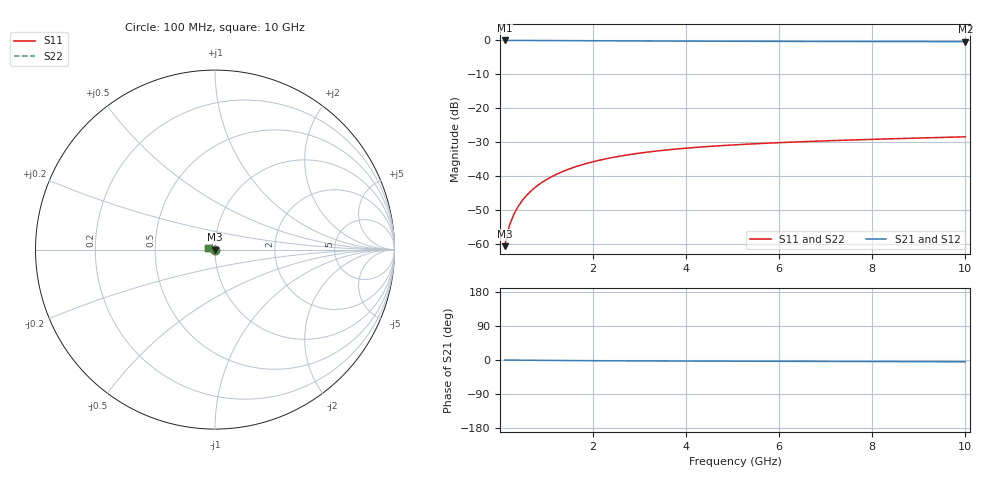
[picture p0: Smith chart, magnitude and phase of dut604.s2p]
! Touchstone file exported from HFSS 2024.1.0
!  File:  C:/UserFiles/LocalFiles/RDL_TSV_Batchsim/temp_TSV1_604_1779787726.aedt
!  Generated:  05:34:11 PM May 26, 2026
!  Design:  TSV1
!  Project:  temp_TSV1_604_1779787726
!  Setup:  Setup1
!  Solution:  Sweep
! Variables:
!  dtsv = 8.46um
!  hbump = 3um
!  htsv = 71.52um
!  lrdl = 252.1521522um
!  p = 40
!  p1 = 48.58um
!  t = 500um
!  trdl = 3um
!  wrdl = 24.89489489um
# GHz S MA R 50.000000
! Terminal data exported
! Port[1] = TSV22_T1
! Port[2] = TSV22_T2
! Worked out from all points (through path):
!   100 points, 100 MHz to 10 GHz, reference 50 ohm
!   highest |S21| = 0.00 dB at 100 MHz (marker M1); lowest = -0.4 dB at 10 GHz (marker M2)
!   lowest |S11| = -60.7 dB at 100 MHz (marker M3), VSWR 1.00, Z = 50 - j0.0911 ohm
!   |S11| at or under -10 dB: start of sweep to end of sweep
!   |S22| runs from -60.7 to -28.4 dB; largest |S21 - S12| = 1.5e-14
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0.1  0.0009249 -80.0  0.9998 -0.1  0.9998 -0.1  0.0009249 -80.0
! Gamma 0 0 0 0
! Port Impedance 50 0 50 0
0.2  0.001831 -87.6  0.9997 -0.2  0.9997 -0.2  0.001831 -87.6
0.3  0.00274 -91.4  0.9995 -0.3  0.9995 -0.3  0.00274 -91.4
0.4  0.003646 -94.3  0.9993 -0.4  0.9993 -0.4  0.003646 -94.3
0.5  0.004544 -96.8  0.999 -0.5  0.999 -0.5  0.004544 -96.8
0.6  0.005433 -99.0  0.9987 -0.6  0.9987 -0.6  0.005433 -99.0
0.7  0.006311 -101.2  0.9983 -0.7  0.9983 -0.7  0.006311 -101.2
0.8  0.007177 -103.2  0.9979 -0.8  0.9979 -0.8  0.007177 -103.2
0.9  0.00803 -105.2  0.9974 -0.9  0.9974 -0.9  0.00803 -105.2
1.1  0.00969 -109.0  0.9964 -1.1  0.9964 -1.1  0.00969 -109.0
1.4  0.01205 -114.4  0.9945 -1.4  0.9945 -1.4  0.01205 -114.4
1.6  0.01353 -117.8  0.9932 -1.5  0.9932 -1.5  0.01353 -117.8
1.8  0.01494 -121.1  0.9918 -1.7  0.9918 -1.7  0.01494 -121.1
2.1  0.0169 -125.8  0.9896 -1.9  0.9896 -1.9  0.0169 -125.8
2.5  0.01924 -131.6  0.9866 -2.1  0.9866 -2.1  0.01924 -131.6
2.9  0.0213 -137.0  0.9838 -2.3  0.9838 -2.3  0.0213 -137.0
3.4  0.02353 -143.2  0.9805 -2.6  0.9805 -2.6  0.02353 -143.2
4.2  0.02643 -151.9  0.9759 -2.9  0.9759 -2.9  0.02643 -151.9
5.1  0.029 -160.2  0.9718 -3.2  0.9718 -3.2  0.029 -160.2
6.7  0.03249 -172.4  0.9664 -3.7  0.9664 -3.7  0.03249 -172.4
8.4  0.03543 177.2  0.9627 -4.2  0.9627 -4.2  0.03543 177.2
10  0.0379 169.0  0.9602 -4.7  0.9602 -4.7  0.0379 169.0
